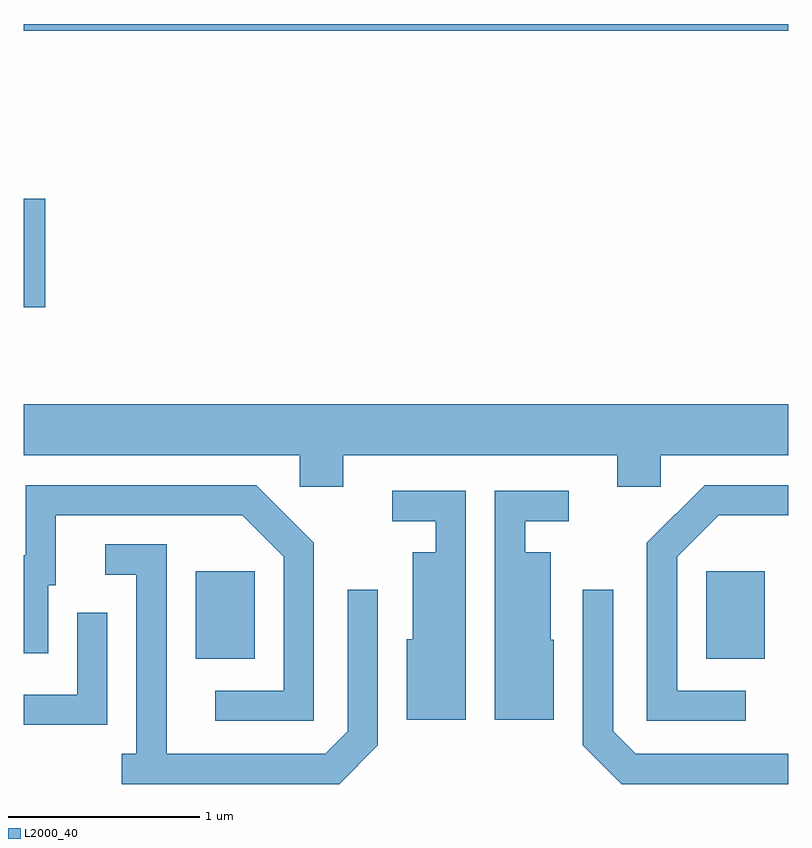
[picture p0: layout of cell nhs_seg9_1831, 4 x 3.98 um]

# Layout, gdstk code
import gdstk
lib = gdstk.Library(unit=1e-6, precision=1e-09)
def R(c, l, rs):  # rectangles x0, y0, x1, y1
    for r in rs: c.add(gdstk.rectangle(r[:2], r[2:], *l))
def P(c, l, *ps):  # polygons
    for p in ps: c.add(gdstk.Polygon(p, *l))
L2000_40 = (2000, 40)

nhs_seg9_1831 = lib.new_cell('nhs_seg9_1831')
R(nhs_seg9_1831, L2000_40, [(238.511,2075.111,238.819,2075.569), (241.181,2075.111,241.489,2075.569), (237.611,2076.951,237.724,2077.519), (237.611,2078.396,241.611,2078.432)])
P(nhs_seg9_1831, L2000_40, [(239.284,2076.176),(240.716,2076.176),(240.716,2076.011),(240.944,2076.011),(240.944,2076.176),(241.611,2076.176),(241.611,2076.444),(237.611,2076.444),(237.611,2076.176),(239.056,2076.176),(239.056,2076.011),(239.284,2076.011)],
  [(241.388,2074.944),(241.029,2074.944),(241.029,2075.644),(241.247,2075.861),(241.611,2075.861),(241.611,2076.019),(241.174,2076.019),(240.871,2075.717),(240.871,2074.786),(241.388,2074.786)],
  [(239.129,2075.717),(238.827,2076.019),(237.621,2076.019),(237.621,2075.654),(237.611,2075.654),(237.611,2075.141),(237.739,2075.141),(237.739,2075.496),(237.779,2075.496),(237.779,2075.861),(238.754,2075.861),(238.971,2075.644),(238.971,2074.944),(238.613,2074.944),(238.613,2074.786),(239.129,2074.786)],
  [(239.924,2075.989),(239.538,2075.989),(239.538,2075.831),(239.766,2075.831),(239.766,2075.669),(239.646,2075.669),(239.646,2075.214),(239.616,2075.214),(239.616,2074.791),(239.924,2074.791)],
  [(240.384,2075.21),(240.369,2075.21),(240.369,2075.669),(240.234,2075.669),(240.234,2075.831),(240.463,2075.831),(240.463,2075.989),(240.076,2075.989),(240.076,2074.791),(240.384,2074.791)],
  [(239.464,2074.659),(239.464,2075.472),(239.306,2075.472),(239.306,2074.731),(239.189,2074.614),(238.359,2074.614),(238.359,2075.709),(238.038,2075.709),(238.038,2075.551),(238.201,2075.551),(238.201,2074.614),(238.123,2074.614),(238.123,2074.456),(239.262,2074.456)],
  [(241.611,2074.614),(240.812,2074.614),(240.694,2074.731),(240.694,2075.472),(240.536,2075.472),(240.536,2074.659),(240.739,2074.456),(241.611,2074.456)],
  [(238.049,2075.353),(237.891,2075.353),(237.891,2074.924),(237.611,2074.924),(237.611,2074.766),(238.049,2074.766)])

lib.write_gds('nhs_seg9_1831.gds')
